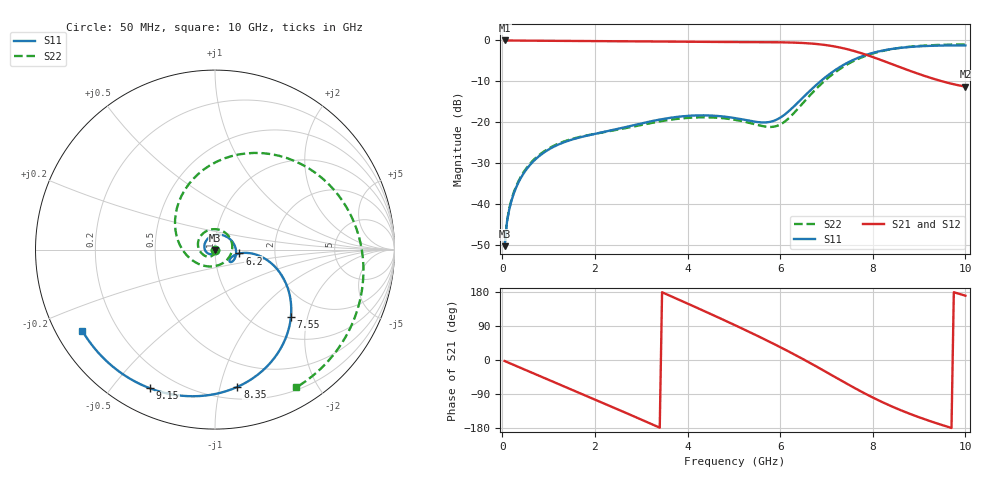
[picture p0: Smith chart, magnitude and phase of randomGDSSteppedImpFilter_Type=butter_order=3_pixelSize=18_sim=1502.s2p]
! freq	dB(S11)	phase(S11)	dB(S12)	phase(S12)
!  dB(S21)	phase(S21)	dB(S22)	phase(S22)
!S-par simulation data
#  GHz  S  DB  R 50
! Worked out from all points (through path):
!   200 points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, 50 MHz to 10 GHz, reference 50 ohm
!   highest |S21| = -0.02 dB at 50 MHz (marker M1); lowest = -11.3 dB at 10 GHz (marker M2)
!   group delay of S21, straight-line fit = 159 ps
!   lowest |S11| = -50.4 dB at 50 MHz (marker M3), VSWR 1.01, Z = 50.2 - j0.258 ohm
!   |S11| at or under -10 dB: start of sweep to 6.873 GHz
!   |S22| runs from -50.2 to -1.0 dB; largest |S21 - S12| = 0
!   S11 on the Smith chart (normalised r, x): 50 MHz: 1.00, -0.01; 6.2 GHz: 1.31, -0.06; 7.55 GHz: 1.43, -1.59; 8.35 GHz: 0.30, -1.13; 9.15 GHz: 0.11, -0.63; 10 GHz: 0.08, -0.28
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0.05  -50.38 -58.2  -0.02 -2.7  -0.02 -2.7  -50.25 -57.9
0.1  -44.53 -70.1  -0.03 -5.3  -0.03 -5.3  -44.35 -68.0
0.2  -39.16 -85.9  -0.04 -10.5  -0.04 -10.5  -38.91 -81.0
0.5  -31.91 -116.0  -0.07 -26.1  -0.07 -26.1  -31.61 -102.4
1.15  -25.82 -166.2  -0.11 -59.9  -0.11 -59.9  -25.59 -130.7
1.75  -23.53 147.1  -0.15 -91.1  -0.15 -91.1  -23.45 -150.0
2.5  -21.65 86.2  -0.21 -130.6  -0.21 -130.6  -21.84 -169.6
2.95  -20.46 52.1  -0.25 -154.5  -0.25 -154.5  -20.82 176.6
3.4  -19.39 22.6  -0.29 -178.6  -0.29 -178.6  -19.84 158.2
4.15  -18.39 -14.9  -0.36 140.7  -0.36 140.7  -18.88 115.1
4.6  -18.46 -30.2  -0.39 115.8  -0.39 115.8  -18.91 81.3
5.05  -19.08 -38.8  -0.41 90.4  -0.41 90.4  -19.50 40.6
5.6  -20.09 -33.5  -0.43 58.4  -0.43 58.4  -20.94 -25.7
6.2  -17.19 -9.0  -0.52 21.4  -0.52 21.4  -18.91 -130.2
6.7  -11.74 -8.6  -0.80 -11.5  -0.80 -11.5  -12.78 159.5
7.1  -7.97 -21.2  -1.35 -39.0  -1.35 -39.0  -8.59 117.0
7.55  -4.93 -41.8  -2.46 -70.0  -2.46 -70.0  -5.25 76.1
7.9  -3.39 -59.1  -3.69 -92.8  -3.69 -92.8  -3.57 48.2
8.35  -2.21 -80.7  -5.54 -119.2  -5.54 -119.2  -2.26 17.4
8.75  -1.66 -98.5  -7.24 -139.6  -7.24 -139.6  -1.61 -5.7
9.15  -1.38 -115.1  -8.82 -157.6  -8.82 -157.6  -1.26 -25.5
10  -1.24 -148.5  -11.31 169.7  -11.31 169.7  -1.00 -59.5
